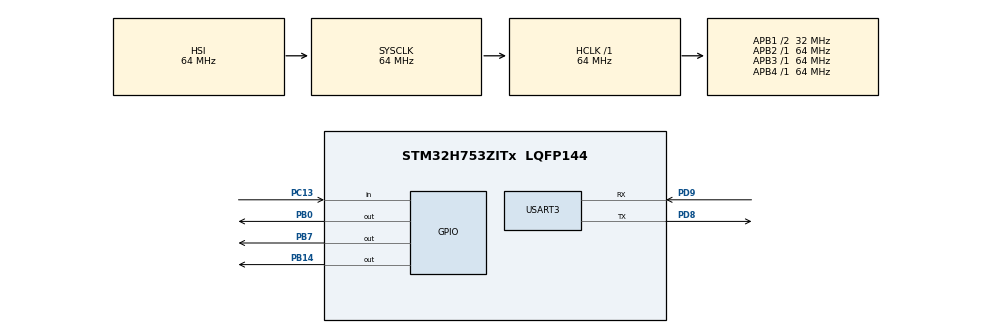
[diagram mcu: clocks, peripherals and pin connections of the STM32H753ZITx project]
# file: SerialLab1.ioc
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CORTEX_M7.CPU_DCache=Disabled
CORTEX_M7.CPU_ICache=Disabled
CORTEX_M7.MPU_Control=__NULL
CORTEX_M7.default_mode_Activation=1
Mcu.Family=STM32H7
Mcu.Name=STM32H753ZITx
Mcu.Package=LQFP144
NUCLEO-H753ZI.BUTTON=1
NUCLEO-H753ZI.Bsp_Common_DEMO=true
NUCLEO-H753ZI.LD1=true
NUCLEO-H753ZI.LD2=true
NUCLEO-H753ZI.LD3=true
NUCLEO-H753ZI.VCP=false
NVIC.EXTI15_10_IRQn=true\:0\:0\:false\:false\:true\:false\:true\:true
NVIC.PriorityGroup=NVIC_PRIORITYGROUP_4
PB0.Signal=GPIO_Output
PB14.Signal=GPIO_Output
PB7.Signal=GPIO_Output
PC13.Signal=GPIO_Input
PC14-OSC32_IN\ (OSC32_IN).Signal=RCC_OSC32_IN
PC15-OSC32_OUT\ (OSC32_OUT).Signal=RCC_OSC32_OUT
PD8.Mode=Asynchronous
PD8.Signal=USART3_TX
PD9.Mode=Asynchronous
PD9.Signal=USART3_RX
PH0-OSC_IN\ (PH0).Signal=RCC_OSC_IN
PH1-OSC_OUT\ (PH1).Signal=RCC_OSC_OUT
ProjectManager.HeapSize=0x200
ProjectManager.StackSize=0x400
ProjectManager.TargetToolchain=STM32CubeIDE
RCC.ADCFreq_Value=129000000
RCC.APB1Freq_Value=32000000
RCC.APB2Freq_Value=64000000
RCC.APB3Freq_Value=64000000
RCC.APB4Freq_Value=64000000
RCC.CortexFreq_Value=64000000
RCC.D2PPRE1=RCC_APB1_DIV2
RCC.DIVM1=1
RCC.DIVN1=24
RCC.DIVQ1=4
RCC.HCLKFreq_Value=64000000
RCC.HSE_VALUE=8000000
RCC.SYSCLKFreq_VALUE=64000000
RCC.USBFreq_Value=384000000
USART3.VirtualMode-Asynchronous=VM_ASYNC
VP_MEMORYMAP_VS_MEMORYMAP.Mode=CurAppReg
VP_NUCLEO-H753ZI_VS_BSP_COMMON.Mode=COMMON
board=NUCLEO-H753ZI

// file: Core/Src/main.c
/* USER CODE BEGIN Header */
/**
  ******************************************************************************
  * @file           : main.c
  * @brief          : Main program body
  ******************************************************************************
  * @attention
  *
  * Copyright (c) 2025 STMicroelectronics.
  * All rights reserved.
  *
  * This software is licensed under terms that can be found in the LICENSE file
  * in the root directory of this software component.
  * If no LICENSE file comes with this software, it is provided AS-IS.
  *
  ******************************************************************************
  */
/* USER CODE END Header */
#include "main.h"

/* USER CODE BEGIN Includes */
#include <string.h>
/* USER CODE END Includes */

__IO uint32_t BspButtonState = BUTTON_RELEASED;

UART_HandleTypeDef huart3;

/* USER CODE BEGIN PV */
int LED_STATUS;
/* USER CODE END PV */

void SystemClock_Config(void);
static void MX_GPIO_Init(void);
static void MX_USART3_UART_Init(void);

int main(void)
{

  /* MCU Configuration--------------------------------------------------------*/

  /* Reset of all peripherals, Initializes the Flash interface and the Systick. */
  HAL_Init();

  /* Configure the system clock */
  SystemClock_Config();

  /* Initialize all configured peripherals */
  MX_GPIO_Init();
  MX_USART3_UART_Init();

  /* Initialize leds */
  BSP_LED_Init(LED_GREEN);
  BSP_LED_Init(LED_BLUE);
  BSP_LED_Init(LED_RED);

  /* Infinite loop */
  /* USER CODE BEGIN WHILE */
  uint8_t Test[] = "Hello World !!!\n\n"; //Data to send
  HAL_UART_Transmit(&huart3,Test,strlen((char*)Test),10);// Sending in normal mode
  while (1)
  {

    /* USER CODE END WHILE */

    /* USER CODE BEGIN 3 */
	  if (LED_STATUS) {
		  uint8_t Test[] = "Green LED is ON, Turning OFF.\n\n"; //Data to send
		  HAL_UART_Transmit(&huart3,Test,strlen((char*)Test),10);// Sending in normal mode
		  BSP_LED_Off(LED_GREEN);
		  LED_STATUS = 0;
	  } else {
		  uint8_t Test[] = "Green LED is OFF, Turning ON.\n\n"; //Data to send
		  HAL_UART_Transmit(&huart3,Test,strlen((char*)Test),10);// Sending in normal mode
		  BSP_LED_On(LED_GREEN);
		  LED_STATUS = 1;
	  }
	  HAL_Delay(1000);
  }
  /* USER CODE END 3 */
}

void SystemClock_Config(void)
{
  RCC_OscInitTypeDef RCC_OscInitStruct = {0};
  RCC_ClkInitTypeDef RCC_ClkInitStruct = {0};

  /** Supply configuration update enable
  */
  HAL_PWREx_ConfigSupply(PWR_LDO_SUPPLY);

  /** Configure the main internal regulator output voltage
  */
  __HAL_PWR_VOLTAGESCALING_CONFIG(PWR_REGULATOR_VOLTAGE_SCALE3);

  while(!__HAL_PWR_GET_FLAG(PWR_FLAG_VOSRDY)) {}

  /** Initializes the RCC Oscillators according to the specified parameters
  * in the RCC_OscInitTypeDef structure.
  */
  RCC_OscInitStruct.OscillatorType = RCC_OSCILLATORTYPE_HSI;
  RCC_OscInitStruct.HSIState = RCC_HSI_DIV1;
  RCC_OscInitStruct.HSICalibrationValue = RCC_HSICALIBRATION_DEFAULT;
  RCC_OscInitStruct.PLL.PLLState = RCC_PLL_NONE;
  if (HAL_RCC_OscConfig(&RCC_OscInitStruct) != HAL_OK)
  {
    Error_Handler();
  }

  /** Initializes the CPU, AHB and APB buses clocks
  */
  RCC_ClkInitStruct.ClockType = RCC_CLOCKTYPE_HCLK|RCC_CLOCKTYPE_SYSCLK
                              |RCC_CLOCKTYPE_PCLK1|RCC_CLOCKTYPE_PCLK2
                              |RCC_CLOCKTYPE_D3PCLK1|RCC_CLOCKTYPE_D1PCLK1;
  RCC_ClkInitStruct.SYSCLKSource = RCC_SYSCLKSOURCE_HSI;
  RCC_ClkInitStruct.SYSCLKDivider = RCC_SYSCLK_DIV1;
  RCC_ClkInitStruct.AHBCLKDivider = RCC_HCLK_DIV1;
  RCC_ClkInitStruct.APB3CLKDivider = RCC_APB3_DIV1;
  RCC_ClkInitStruct.APB1CLKDivider = RCC_APB1_DIV2;
  RCC_ClkInitStruct.APB2CLKDivider = RCC_APB2_DIV1;
  RCC_ClkInitStruct.APB4CLKDivider = RCC_APB4_DIV1;

  if (HAL_RCC_ClockConfig(&RCC_ClkInitStruct, FLASH_LATENCY_1) != HAL_OK)
  {
    Error_Handler();
  }
}

static void MX_USART3_UART_Init(void)
{

  huart3.Instance = USART3;
  huart3.Init.BaudRate = 115200;
  huart3.Init.WordLength = UART_WORDLENGTH_8B;
  huart3.Init.StopBits = UART_STOPBITS_1;
  huart3.Init.Parity = UART_PARITY_NONE;
  huart3.Init.Mode = UART_MODE_TX_RX;
  huart3.Init.HwFlowCtl = UART_HWCONTROL_NONE;
  huart3.Init.OverSampling = UART_OVERSAMPLING_16;
  huart3.Init.OneBitSampling = UART_ONE_BIT_SAMPLE_DISABLE;
  huart3.Init.ClockPrescaler = UART_PRESCALER_DIV1;
  huart3.AdvancedInit.AdvFeatureInit = UART_ADVFEATURE_NO_INIT;
  if (HAL_UART_Init(&huart3) != HAL_OK)
  {
    Error_Handler();
  }
  if (HAL_UARTEx_SetTxFifoThreshold(&huart3, UART_TXFIFO_THRESHOLD_1_8) != HAL_OK)
  {
    Error_Handler();
  }
  if (HAL_UARTEx_SetRxFifoThreshold(&huart3, UART_RXFIFO_THRESHOLD_1_8) != HAL_OK)
  {
    Error_Handler();
  }
  if (HAL_UARTEx_DisableFifoMode(&huart3) != HAL_OK)
  {
    Error_Handler();
  }

}

static void MX_GPIO_Init(void)
{

  /* GPIO Ports Clock Enable */
  __HAL_RCC_GPIOC_CLK_ENABLE();
  __HAL_RCC_GPIOH_CLK_ENABLE();
  __HAL_RCC_GPIOD_CLK_ENABLE();

}

/**
  * @brief BSP Push Button callback
  * @param Button Specifies the pressed button
  * @retval None
  */
void BSP_PB_Callback(Button_TypeDef Button)
{
  if (Button == BUTTON_USER)
  {
    BspButtonState = BUTTON_PRESSED;
  }
}

void Error_Handler(void)
{
  __disable_irq();
  while (1)
  {
  }
}
